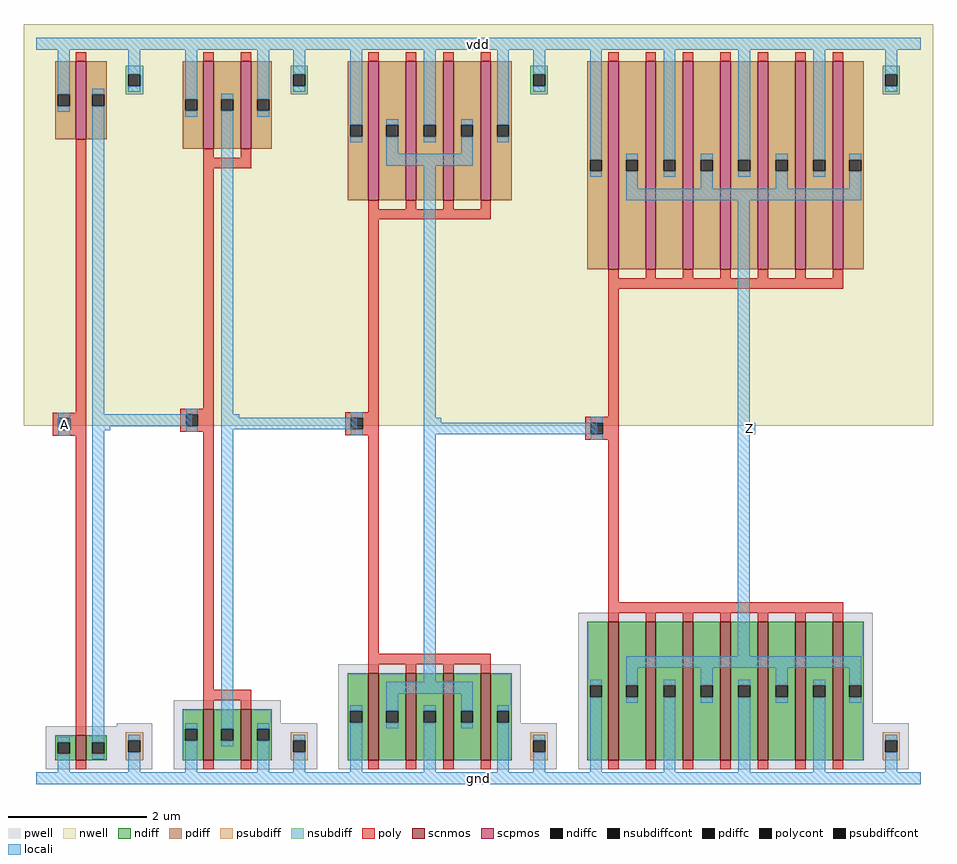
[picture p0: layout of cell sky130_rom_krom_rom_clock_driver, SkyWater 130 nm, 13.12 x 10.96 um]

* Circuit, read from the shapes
.subckt sky130_rom_krom_rom_clock_driver Z A gnd vdd
XM1 sky130_rom_krom_pinv_0_0/A A gnd gnd sky130_fd_pr__nfet_01v8 w=0.36 l=0.15
XM2 sky130_rom_krom_pinv_1_0/A sky130_rom_krom_pinv_0_0/A gnd gnd sky130_fd_pr__nfet_01v8 w=0.74 l=0.15 m=2
XM3 sky130_rom_krom_pinv_2_0/A sky130_rom_krom_pinv_1_0/A gnd gnd sky130_fd_pr__nfet_01v8 w=1.26 l=0.15 m=4
XM4 Z sky130_rom_krom_pinv_2_0/A gnd gnd sky130_fd_pr__nfet_01v8 w=2 l=0.15 m=7
XM5 sky130_rom_krom_pinv_0_0/A A vdd vdd sky130_fd_pr__pfet_01v8 w=1.12 l=0.15
XM6 sky130_rom_krom_pinv_1_0/A sky130_rom_krom_pinv_0_0/A vdd vdd sky130_fd_pr__pfet_01v8 w=1.26 l=0.15 m=2
XM7 sky130_rom_krom_pinv_2_0/A sky130_rom_krom_pinv_1_0/A vdd vdd sky130_fd_pr__pfet_01v8 w=2 l=0.15 m=4
XM8 Z sky130_rom_krom_pinv_2_0/A vdd vdd sky130_fd_pr__pfet_01v8 w=3 l=0.15 m=7
.ends

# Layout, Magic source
magic
tech sky130A
magscale 1 2
<< nwell >>
rect -36 1017 2588 2176
<< locali >>
rect 0 2101 2552 2135
rect 64 988 98 1054
rect 179 1016 449 1050
rect 551 1006 925 1040
rect 1135 992 1617 1026
rect 2041 992 2075 1026
rect 0 -17 2552 17
use sky130_rom_krom_pinv  sky130_rom_krom_pinv_0
transform 1 0 0 0 1 0
box -36 -17 404 2176
use sky130_rom_krom_pinv_0  sky130_rom_krom_pinv_0_0
transform 1 0 368 0 1 0
box -36 -17 512 2176
use sky130_rom_krom_pinv_1  sky130_rom_krom_pinv_1_0
transform 1 0 844 0 1 0
box -36 -17 728 2176
use sky130_rom_krom_pinv_2  sky130_rom_krom_pinv_2_0
transform 1 0 1536 0 1 0
box -36 -17 1052 2176
<< labels >>
rlabel locali s 2058 1009 2058 1009 4 Z
port 1 nsew
rlabel locali s 81 1021 81 1021 4 A
port 2 nsew
rlabel locali s 1276 0 1276 0 4 gnd
port 3 nsew
rlabel locali s 1276 2118 1276 2118 4 vdd
port 4 nsew
<< properties >>
string FIXED_BBOX 0 0 2552 2118
<< end >>

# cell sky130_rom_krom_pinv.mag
magic
tech sky130A
magscale 1 2
<< nwell >>
rect -36 1017 404 2176
<< pwell >>
rect 232 149 334 159
rect 28 25 334 149
<< scnmos >>
rect 114 51 144 123
<< scpmos >>
rect 114 1844 144 2068
<< ndiff >>
rect 54 104 114 123
rect 54 70 62 104
rect 96 70 114 104
rect 54 51 114 70
rect 144 104 204 123
rect 144 70 162 104
rect 196 70 204 104
rect 144 51 204 70
<< pdiff >>
rect 54 1973 114 2068
rect 54 1939 62 1973
rect 96 1939 114 1973
rect 54 1844 114 1939
rect 144 1973 204 2068
rect 144 1939 162 1973
rect 196 1939 204 1973
rect 144 1844 204 1939
<< ndiffc >>
rect 62 70 96 104
rect 162 70 196 104
<< pdiffc >>
rect 62 1939 96 1973
rect 162 1939 196 1973
<< psubdiff >>
rect 258 109 308 133
rect 258 75 266 109
rect 300 75 308 109
rect 258 51 308 75
<< nsubdiff >>
rect 258 2031 308 2055
rect 258 1997 266 2031
rect 300 1997 308 2031
rect 258 1973 308 1997
<< psubdiffcont >>
rect 266 75 300 109
<< nsubdiffcont >>
rect 266 1997 300 2031
<< poly >>
rect 114 2068 144 2094
rect 114 1054 144 1844
rect 48 1038 144 1054
rect 48 1004 64 1038
rect 98 1004 144 1038
rect 48 988 144 1004
rect 114 123 144 988
rect 114 25 144 51
<< polycont >>
rect 64 1004 98 1038
<< locali >>
rect 0 2102 368 2136
rect 62 1973 96 2102
rect 266 2031 300 2102
rect 62 1923 96 1939
rect 162 1973 196 1989
rect 266 1981 300 1997
rect 64 1038 98 1054
rect 64 988 98 1004
rect 162 1038 196 1939
rect 162 1004 213 1038
rect 62 104 96 120
rect 62 17 96 70
rect 162 104 196 1004
rect 162 54 196 70
rect 266 109 300 125
rect 266 17 300 75
rect 0 -17 368 17
<< labels >>
rlabel locali s 81 1021 81 1021 4 A
port 1 nsew
rlabel locali s 196 1021 196 1021 4 Z
port 2 nsew
rlabel locali s 184 0 184 0 4 gnd
port 3 nsew
rlabel locali s 184 2119 184 2119 4 vdd
port 4 nsew
<< properties >>
string FIXED_BBOX 0 0 368 1872
<< end >>

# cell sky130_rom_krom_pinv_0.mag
magic
tech sky130A
magscale 1 2
<< nwell >>
rect -36 1017 512 2176
<< pwell >>
rect 28 159 338 225
rect 28 25 442 159
<< scnmos >>
rect 114 51 144 199
rect 222 51 252 199
<< scpmos >>
rect 114 1816 144 2068
rect 222 1816 252 2068
<< ndiff >>
rect 54 142 114 199
rect 54 108 62 142
rect 96 108 114 142
rect 54 51 114 108
rect 144 142 222 199
rect 144 108 166 142
rect 200 108 222 142
rect 144 51 222 108
rect 252 142 312 199
rect 252 108 270 142
rect 304 108 312 142
rect 252 51 312 108
<< pdiff >>
rect 54 1959 114 2068
rect 54 1925 62 1959
rect 96 1925 114 1959
rect 54 1816 114 1925
rect 144 1959 222 2068
rect 144 1925 166 1959
rect 200 1925 222 1959
rect 144 1816 222 1925
rect 252 1959 312 2068
rect 252 1925 270 1959
rect 304 1925 312 1959
rect 252 1816 312 1925
<< ndiffc >>
rect 62 108 96 142
rect 166 108 200 142
rect 270 108 304 142
<< pdiffc >>
rect 62 1925 96 1959
rect 166 1925 200 1959
rect 270 1925 304 1959
<< psubdiff >>
rect 366 109 416 133
rect 366 75 374 109
rect 408 75 416 109
rect 366 51 416 75
<< nsubdiff >>
rect 366 2031 416 2055
rect 366 1997 374 2031
rect 408 1997 416 2031
rect 366 1973 416 1997
<< psubdiffcont >>
rect 374 75 408 109
<< nsubdiffcont >>
rect 374 1997 408 2031
<< poly >>
rect 114 2068 144 2094
rect 222 2068 252 2094
rect 114 1790 144 1816
rect 222 1790 252 1816
rect 114 1760 252 1790
rect 114 1066 144 1760
rect 48 1050 144 1066
rect 48 1016 64 1050
rect 98 1016 144 1050
rect 48 1000 144 1016
rect 114 255 144 1000
rect 114 225 252 255
rect 114 199 144 225
rect 222 199 252 225
rect 114 25 144 51
rect 222 25 252 51
<< polycont >>
rect 64 1016 98 1050
<< locali >>
rect 0 2102 476 2136
rect 62 1959 96 2102
rect 62 1909 96 1925
rect 166 1959 200 1975
rect 64 1050 98 1066
rect 64 1000 98 1016
rect 166 1050 200 1925
rect 270 1959 304 2102
rect 374 2031 408 2102
rect 374 1981 408 1997
rect 270 1909 304 1925
rect 166 1016 217 1050
rect 62 142 96 158
rect 62 17 96 108
rect 166 142 200 1016
rect 166 92 200 108
rect 270 142 304 158
rect 270 17 304 108
rect 374 109 408 125
rect 374 17 408 75
rect 0 -17 476 17
<< labels >>
rlabel locali s 81 1033 81 1033 4 A
port 1 nsew
rlabel locali s 200 1033 200 1033 4 Z
port 2 nsew
rlabel locali s 238 0 238 0 4 gnd
port 3 nsew
rlabel locali s 238 2119 238 2119 4 vdd
port 4 nsew
<< properties >>
string FIXED_BBOX 0 0 476 1858
<< end >>

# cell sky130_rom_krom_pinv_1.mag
magic
tech sky130A
magscale 1 2
<< nwell >>
rect -36 1017 728 2176
<< pwell >>
rect 28 159 554 329
rect 28 25 658 159
<< scnmos >>
rect 114 51 144 303
rect 222 51 252 303
rect 330 51 360 303
rect 438 51 468 303
<< scpmos >>
rect 114 1668 144 2068
rect 222 1668 252 2068
rect 330 1668 360 2068
rect 438 1668 468 2068
<< ndiff >>
rect 54 194 114 303
rect 54 160 62 194
rect 96 160 114 194
rect 54 51 114 160
rect 144 194 222 303
rect 144 160 166 194
rect 200 160 222 194
rect 144 51 222 160
rect 252 194 330 303
rect 252 160 274 194
rect 308 160 330 194
rect 252 51 330 160
rect 360 194 438 303
rect 360 160 382 194
rect 416 160 438 194
rect 360 51 438 160
rect 468 194 528 303
rect 468 160 486 194
rect 520 160 528 194
rect 468 51 528 160
<< pdiff >>
rect 54 1885 114 2068
rect 54 1851 62 1885
rect 96 1851 114 1885
rect 54 1668 114 1851
rect 144 1885 222 2068
rect 144 1851 166 1885
rect 200 1851 222 1885
rect 144 1668 222 1851
rect 252 1885 330 2068
rect 252 1851 274 1885
rect 308 1851 330 1885
rect 252 1668 330 1851
rect 360 1885 438 2068
rect 360 1851 382 1885
rect 416 1851 438 1885
rect 360 1668 438 1851
rect 468 1885 528 2068
rect 468 1851 486 1885
rect 520 1851 528 1885
rect 468 1668 528 1851
<< ndiffc >>
rect 62 160 96 194
rect 166 160 200 194
rect 274 160 308 194
rect 382 160 416 194
rect 486 160 520 194
<< pdiffc >>
rect 62 1851 96 1885
rect 166 1851 200 1885
rect 274 1851 308 1885
rect 382 1851 416 1885
rect 486 1851 520 1885
<< psubdiff >>
rect 582 109 632 133
rect 582 75 590 109
rect 624 75 632 109
rect 582 51 632 75
<< nsubdiff >>
rect 582 2031 632 2055
rect 582 1997 590 2031
rect 624 1997 632 2031
rect 582 1973 632 1997
<< psubdiffcont >>
rect 590 75 624 109
<< nsubdiffcont >>
rect 590 1997 624 2031
<< poly >>
rect 114 2068 144 2094
rect 222 2068 252 2094
rect 330 2068 360 2094
rect 438 2068 468 2094
rect 114 1642 144 1668
rect 222 1642 252 1668
rect 330 1642 360 1668
rect 438 1642 468 1668
rect 114 1612 468 1642
rect 114 1056 144 1612
rect 48 1040 144 1056
rect 48 1006 64 1040
rect 98 1006 144 1040
rect 48 990 144 1006
rect 114 359 144 990
rect 114 329 468 359
rect 114 303 144 329
rect 222 303 252 329
rect 330 303 360 329
rect 438 303 468 329
rect 114 25 144 51
rect 222 25 252 51
rect 330 25 360 51
rect 438 25 468 51
<< polycont >>
rect 64 1006 98 1040
<< locali >>
rect 0 2102 692 2136
rect 62 1885 96 2102
rect 62 1835 96 1851
rect 166 1885 200 1901
rect 166 1801 200 1851
rect 274 1885 308 2102
rect 274 1835 308 1851
rect 382 1885 416 1901
rect 382 1801 416 1851
rect 486 1885 520 2102
rect 590 2031 624 2102
rect 590 1981 624 1997
rect 486 1835 520 1851
rect 166 1767 416 1801
rect 64 1040 98 1056
rect 64 990 98 1006
rect 274 1040 308 1767
rect 274 1006 325 1040
rect 274 278 308 1006
rect 166 244 416 278
rect 62 194 96 210
rect 62 17 96 160
rect 166 194 200 244
rect 166 144 200 160
rect 274 194 308 210
rect 274 17 308 160
rect 382 194 416 244
rect 382 144 416 160
rect 486 194 520 210
rect 486 17 520 160
rect 590 109 624 125
rect 590 17 624 75
rect 0 -17 692 17
<< labels >>
rlabel locali s 81 1023 81 1023 4 A
port 1 nsew
rlabel locali s 308 1023 308 1023 4 Z
port 2 nsew
rlabel locali s 346 0 346 0 4 gnd
port 3 nsew
rlabel locali s 346 2119 346 2119 4 vdd
port 4 nsew
<< properties >>
string FIXED_BBOX 0 0 692 1784
<< end >>

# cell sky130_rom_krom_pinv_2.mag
magic
tech sky130A
magscale 1 2
<< nwell >>
rect -36 1017 1052 2176
<< pwell >>
rect 28 159 878 477
rect 28 25 982 159
<< scnmos >>
rect 114 51 144 451
rect 222 51 252 451
rect 330 51 360 451
rect 438 51 468 451
rect 546 51 576 451
rect 654 51 684 451
rect 762 51 792 451
<< scpmos >>
rect 114 1468 144 2068
rect 222 1468 252 2068
rect 330 1468 360 2068
rect 438 1468 468 2068
rect 546 1468 576 2068
rect 654 1468 684 2068
rect 762 1468 792 2068
<< ndiff >>
rect 54 268 114 451
rect 54 234 62 268
rect 96 234 114 268
rect 54 51 114 234
rect 144 268 222 451
rect 144 234 166 268
rect 200 234 222 268
rect 144 51 222 234
rect 252 268 330 451
rect 252 234 274 268
rect 308 234 330 268
rect 252 51 330 234
rect 360 268 438 451
rect 360 234 382 268
rect 416 234 438 268
rect 360 51 438 234
rect 468 268 546 451
rect 468 234 490 268
rect 524 234 546 268
rect 468 51 546 234
rect 576 268 654 451
rect 576 234 598 268
rect 632 234 654 268
rect 576 51 654 234
rect 684 268 762 451
rect 684 234 706 268
rect 740 234 762 268
rect 684 51 762 234
rect 792 268 852 451
rect 792 234 810 268
rect 844 234 852 268
rect 792 51 852 234
<< pdiff >>
rect 54 1785 114 2068
rect 54 1751 62 1785
rect 96 1751 114 1785
rect 54 1468 114 1751
rect 144 1785 222 2068
rect 144 1751 166 1785
rect 200 1751 222 1785
rect 144 1468 222 1751
rect 252 1785 330 2068
rect 252 1751 274 1785
rect 308 1751 330 1785
rect 252 1468 330 1751
rect 360 1785 438 2068
rect 360 1751 382 1785
rect 416 1751 438 1785
rect 360 1468 438 1751
rect 468 1785 546 2068
rect 468 1751 490 1785
rect 524 1751 546 1785
rect 468 1468 546 1751
rect 576 1785 654 2068
rect 576 1751 598 1785
rect 632 1751 654 1785
rect 576 1468 654 1751
rect 684 1785 762 2068
rect 684 1751 706 1785
rect 740 1751 762 1785
rect 684 1468 762 1751
rect 792 1785 852 2068
rect 792 1751 810 1785
rect 844 1751 852 1785
rect 792 1468 852 1751
<< ndiffc >>
rect 62 234 96 268
rect 166 234 200 268
rect 274 234 308 268
rect 382 234 416 268
rect 490 234 524 268
rect 598 234 632 268
rect 706 234 740 268
rect 810 234 844 268
<< pdiffc >>
rect 62 1751 96 1785
rect 166 1751 200 1785
rect 274 1751 308 1785
rect 382 1751 416 1785
rect 490 1751 524 1785
rect 598 1751 632 1785
rect 706 1751 740 1785
rect 810 1751 844 1785
<< psubdiff >>
rect 906 109 956 133
rect 906 75 914 109
rect 948 75 956 109
rect 906 51 956 75
<< nsubdiff >>
rect 906 2031 956 2055
rect 906 1997 914 2031
rect 948 1997 956 2031
rect 906 1973 956 1997
<< psubdiffcont >>
rect 914 75 948 109
<< nsubdiffcont >>
rect 914 1997 948 2031
<< poly >>
rect 114 2068 144 2094
rect 222 2068 252 2094
rect 330 2068 360 2094
rect 438 2068 468 2094
rect 546 2068 576 2094
rect 654 2068 684 2094
rect 762 2068 792 2094
rect 114 1442 144 1468
rect 222 1442 252 1468
rect 330 1442 360 1468
rect 438 1442 468 1468
rect 546 1442 576 1468
rect 654 1442 684 1468
rect 762 1442 792 1468
rect 114 1412 792 1442
rect 114 1042 144 1412
rect 48 1026 144 1042
rect 48 992 64 1026
rect 98 992 144 1026
rect 48 976 144 992
rect 114 507 144 976
rect 114 477 792 507
rect 114 451 144 477
rect 222 451 252 477
rect 330 451 360 477
rect 438 451 468 477
rect 546 451 576 477
rect 654 451 684 477
rect 762 451 792 477
rect 114 25 144 51
rect 222 25 252 51
rect 330 25 360 51
rect 438 25 468 51
rect 546 25 576 51
rect 654 25 684 51
rect 762 25 792 51
<< polycont >>
rect 64 992 98 1026
<< locali >>
rect 0 2102 1016 2136
rect 62 1785 96 2102
rect 62 1735 96 1751
rect 166 1785 200 1801
rect 166 1701 200 1751
rect 274 1785 308 2102
rect 274 1735 308 1751
rect 382 1785 416 1801
rect 382 1701 416 1751
rect 490 1785 524 2102
rect 490 1735 524 1751
rect 598 1785 632 1801
rect 598 1701 632 1751
rect 706 1785 740 2102
rect 914 2031 948 2102
rect 914 1981 948 1997
rect 706 1735 740 1751
rect 810 1785 844 1801
rect 810 1701 844 1751
rect 166 1667 844 1701
rect 64 1026 98 1042
rect 64 976 98 992
rect 488 1026 522 1667
rect 488 992 539 1026
rect 488 352 522 992
rect 166 318 844 352
rect 62 268 96 284
rect 62 17 96 234
rect 166 268 200 318
rect 166 218 200 234
rect 274 268 308 284
rect 274 17 308 234
rect 382 268 416 318
rect 382 218 416 234
rect 490 268 524 284
rect 490 17 524 234
rect 598 268 632 318
rect 598 218 632 234
rect 706 268 740 284
rect 706 17 740 234
rect 810 268 844 318
rect 810 218 844 234
rect 914 109 948 125
rect 914 17 948 75
rect 0 -17 1016 17
<< labels >>
rlabel locali s 81 1009 81 1009 4 A
port 1 nsew
rlabel locali s 522 1009 522 1009 4 Z
port 2 nsew
rlabel locali s 508 0 508 0 4 gnd
port 3 nsew
rlabel locali s 508 2119 508 2119 4 vdd
port 4 nsew
<< properties >>
string FIXED_BBOX 0 0 1016 1684
<< end >>
